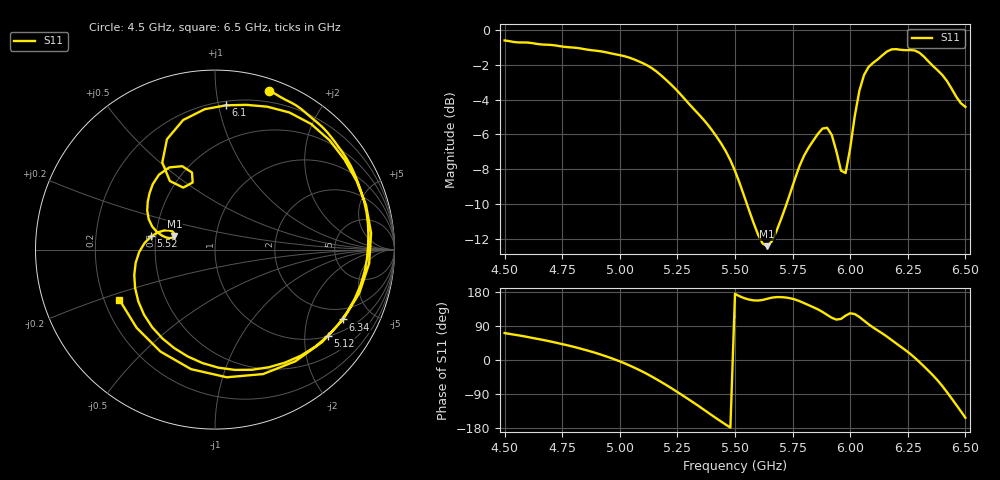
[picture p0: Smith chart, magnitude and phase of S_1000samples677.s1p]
! TOUCHSTONE file generated by CST MICROWAVE STUDIO
! Date and time: Sat Oct 29 00:13:45 2022
! Project name: L.cst
! Parameters = {Di=1.27; Epsilon_r=1.56; InnerDiameter=1.27; Length=2; Lf=10; Lg=60; OuterConductorThickness=0.2921; OuterDiameter=3.6; Wf=3; Wp=41.2; de=1.5; df=6.8; g=0.8; gx=3.94985; gy=0.511097; h=2.34; hf=1.524; px=10.2995; py=11.5883; w=9.7; wx=6.34964; wy=11.0772}
! Header version: 2018
! Port assignment regex: !\s*Touchstone port\s*([0-9]+)\s*=\s*(CST MWS port|CST DS port)\s*([0-9]+|Zmin|Zmax)\s*\(\"(.*)\"\)(\s*mode\s*([0-9]+))?.*
! Touchstone port assignment:
! Touchstone port 1 = CST MWS port 1 ("")
# GHz S DB R 50
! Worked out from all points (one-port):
!   101 points, 4.5 GHz to 6.5 GHz, reference 50 ohm
!   lowest |S11| = -12.4 dB at 5.64 GHz (marker M1), VSWR 1.63, Z = 31.2 + j5.01 ohm
!   |S11| at or under -10 dB: 5.551 GHz to 5.724 GHz (172.5 MHz wide, 3.06 % of centre)
!   S11 on the Smith chart (normalised r, x): 4.5 GHz: 0.10, +1.39; 5.12 GHz: 1.01, -2.60; 5.52 GHz: 0.47, +0.08; 6.1 GHz: 0.23, +1.05; 6.34 GHz: 1.45, -3.33; 6.5 GHz: 0.26, -0.23
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4.5  -0.58 71.2
4.76  -0.95 40.6
4.88  -1.15 21.4
5  -1.43 -3.6
5.12  -2.03 -37.4
5.2  -2.84 -65.4
5.26  -3.64 -88.4
5.38  -5.41 -137.5
5.44  -6.53 -162.5
5.5  -8.10 174.5
5.52  -8.81 168.3
5.64  -12.44 161.5
5.76  -8.57 159.8
5.84  -6.35 139.3
5.9  -5.62 119.0
5.96  -8.09 108.4
6  -6.79 123.3
6.04  -3.47 113.5
6.1  -1.87 85.6
6.14  -1.43 69.9
6.18  -1.10 52.6
6.26  -1.14 16.5
6.3  -1.29 -5.1
6.34  -1.80 -28.6
6.38  -2.31 -54.2
6.42  -2.92 -84.7
6.46  -3.82 -118.2
6.5  -4.41 -152.4
